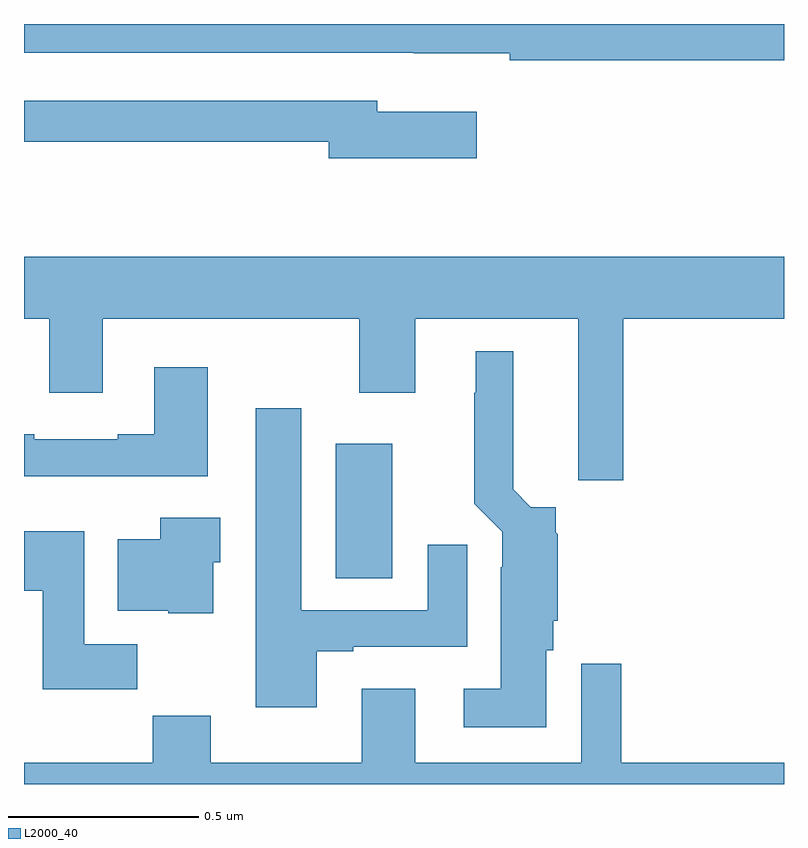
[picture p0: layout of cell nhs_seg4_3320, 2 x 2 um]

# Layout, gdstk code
import gdstk
lib = gdstk.Library(unit=1e-6, precision=1e-09)
def R(c, l, rs):  # rectangles x0, y0, x1, y1
    for r in rs: c.add(gdstk.rectangle(r[:2], r[2:], *l))
def P(c, l, *ps):  # polygons
    for p in ps: c.add(gdstk.Polygon(p, *l))
L2000_40 = (2000, 40)

nhs_seg4_3320 = lib.new_cell('nhs_seg4_3320')
R(nhs_seg4_3320, L2000_40, [(151.82,825.442,151.969,825.796)])
P(nhs_seg4_3320, L2000_40, [(153,826.9),(151,826.9),(151,826.824),(152.026,826.824),(152.026,826.823),(152.278,826.823),(152.278,826.804),(153,826.804)],
  [(152.191,826.669),(151.93,826.669),(151.93,826.698),(151,826.698),(151,826.59),(151.802,826.59),(151.802,826.547),(152.191,826.547)],
  [(152.577,826.124),(153,826.124),(153,826.288),(151,826.288),(151,826.124),(151.067,826.124),(151.067,825.93),(151.207,825.93),(151.207,826.124),(151.882,826.124),(151.882,825.93),(152.029,825.93),(152.029,826.124),(152.459,826.124),(152.459,825.699),(152.577,825.699)],
  [(152.374,825.252),(152.393,825.252),(152.393,825.33),(152.405,825.33),(152.405,825.557),(152.399,825.563),(152.399,825.628),(152.334,825.628),(152.287,825.676),(152.287,826.039),(152.189,826.039),(152.189,825.929),(152.185,825.929),(152.185,825.638),(152.259,825.564),(152.259,825.47),(152.255,825.47),(152.255,825.151),(152.157,825.151),(152.157,825.05),(152.374,825.05)],
  [(151.483,825.997),(151.343,825.997),(151.343,825.82),(151.247,825.82),(151.247,825.807),(151.027,825.807),(151.027,825.82),(151,825.82),(151,825.71),(151.483,825.71)],
  [(151.771,825.249),(151.867,825.249),(151.867,825.261),(152.167,825.261),(152.167,825.529),(152.063,825.529),(152.063,825.357),(151.729,825.357),(151.729,825.889),(151.61,825.889),(151.61,825.102),(151.771,825.102)],
  [(151.498,825.483),(151.516,825.483),(151.516,825.601),(151.358,825.601),(151.358,825.544),(151.247,825.544),(151.247,825.356),(151.38,825.356),(151.38,825.35),(151.498,825.35)],
  [(151.298,825.268),(151.159,825.268),(151.159,825.565),(151,825.565),(151,825.409),(151.049,825.409),(151.049,825.15),(151.298,825.15)],
  [(153,824.956),(152.572,824.956),(152.572,825.217),(152.466,825.217),(152.466,824.956),(152.029,824.956),(152.029,825.151),(151.889,825.151),(151.889,824.956),(151.491,824.956),(151.491,825.08),(151.339,825.08),(151.339,824.956),(151,824.956),(151,824.9),(153,824.9)])

lib.write_gds('nhs_seg4_3320.gds')
